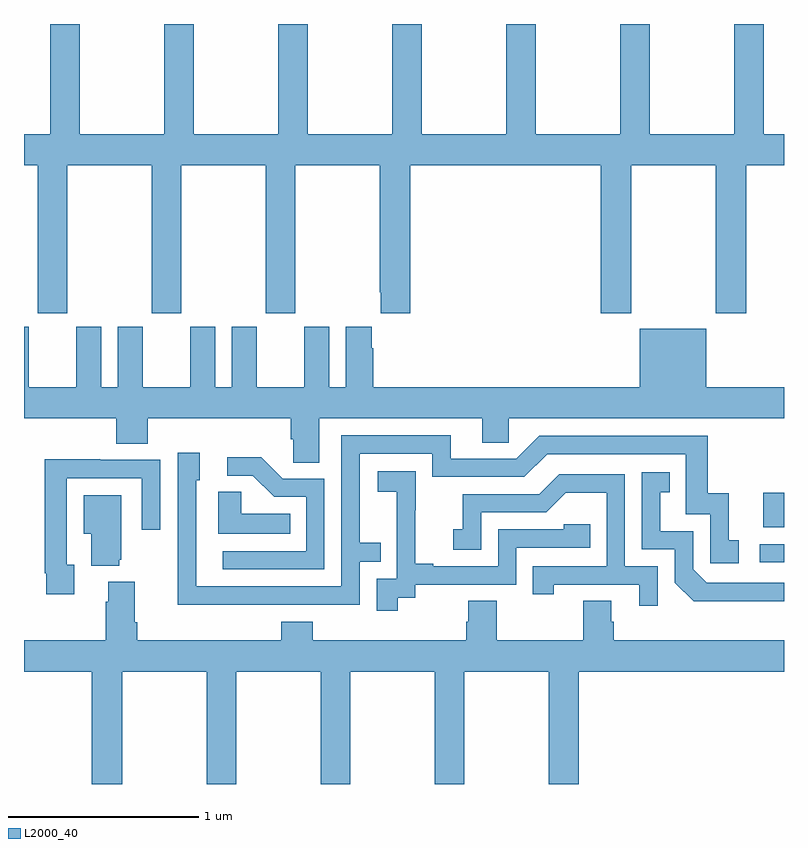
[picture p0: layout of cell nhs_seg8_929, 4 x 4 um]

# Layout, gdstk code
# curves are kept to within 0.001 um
import gdstk
lib = gdstk.Library(unit=1e-6, precision=1e-09)
def R(c, l, rs):  # rectangles x0, y0, x1, y1
    for r in rs: c.add(gdstk.rectangle(r[:2], r[2:], *l))
def P(c, l, *ps):  # polygons
    for p in ps: c.add(gdstk.Polygon(p, *l))
L2000_40 = (2000, 40)

nhs_seg8_929 = lib.new_cell('nhs_seg8_929')
R(nhs_seg8_929, L2000_40, [(174.873,1125.066,175,1125.162), (174.89,1125.251,175,1125.433)])
P(nhs_seg8_929, L2000_40, [(171.228,1127.156),(171.673,1127.156),(171.673,1126.377),(171.828,1126.377),(171.828,1127.156),(172.273,1127.156),(172.273,1126.377),(172.428,1126.377),(172.428,1127.156),(172.873,1127.156),(172.873,1126.489),(172.877,1126.489),(172.877,1126.377),(173.033,1126.377),(173.033,1127.156),(174.035,1127.156),(174.035,1126.377),(174.195,1126.377),(174.195,1127.156),(174.64,1127.156),(174.64,1126.377),(174.8,1126.377),(174.8,1127.156),(175,1127.156),(175,1127.32),(174.894,1127.32),(174.894,1127.9),(174.739,1127.9),(174.739,1127.32),(174.294,1127.32),(174.294,1127.9),(174.139,1127.9),(174.139,1127.32),(173.694,1127.32),(173.694,1127.9),(173.539,1127.9),(173.539,1127.32),(173.094,1127.32),(173.094,1127.9),(172.939,1127.9),(172.939,1127.32),(172.494,1127.32),(172.494,1127.9),(172.339,1127.9),(172.339,1127.32),(171.894,1127.32),(171.894,1127.9),(171.739,1127.9),(171.739,1127.32),(171.294,1127.32),(171.294,1127.9),(171.139,1127.9),(171.139,1127.32),(171,1127.32),(171,1127.156),(171.073,1127.156),(171.073,1126.377),(171.228,1126.377)],
  [(172.555,1125.824),(173.411,1125.824),(173.411,1125.697),(173.55,1125.697),(173.55,1125.824),(175,1125.824),(175,1125.988),(174.592,1125.988),(174.592,1126.297),(174.242,1126.297),(174.242,1125.988),(172.838,1125.988),(172.838,1126.193),(172.831,1126.193),(172.831,1126.306),(172.694,1126.306),(172.694,1125.988),(172.606,1125.988),(172.606,1126.306),(172.475,1126.306),(172.475,1125.988),(172.225,1125.988),(172.225,1126.306),(172.094,1126.306),(172.094,1125.988),(172.006,1125.988),(172.006,1126.306),(171.875,1126.306),(171.875,1125.988),(171.625,1125.988),(171.625,1126.306),(171.494,1126.306),(171.494,1125.988),(171.406,1125.988),(171.406,1126.306),(171.275,1126.306),(171.275,1125.988),(171.025,1125.988),(171.025,1126.306),(171,1126.306),(171,1125.824),(171.485,1125.824),(171.485,1125.691),(171.65,1125.691),(171.65,1125.824),(172.403,1125.824),(172.403,1125.715),(172.416,1125.715),(172.416,1125.592),(172.555,1125.592)],
  [(172.271,1124.844),(172.767,1124.844),(172.767,1125.069),(172.877,1125.069),(172.877,1125.17),(172.767,1125.17),(172.767,1125.639),(173.148,1125.639),(173.148,1125.516),(173.634,1125.516),(173.754,1125.636),(174.483,1125.636),(174.483,1125.321),(174.612,1125.321),(174.612,1125.063),(174.763,1125.063),(174.763,1125.183),(174.71,1125.183),(174.71,1125.43),(174.599,1125.43),(174.599,1125.732),(173.712,1125.732),(173.592,1125.612),(173.245,1125.612),(173.245,1125.735),(172.671,1125.735),(172.671,1124.94),(171.906,1124.94),(171.906,1125.498),(171.925,1125.498),(171.925,1125.643),(171.81,1125.643),(171.81,1125.149),(171.808,1125.149),(171.808,1124.843)],
  [(172.581,1125.507),(172.362,1125.507),(172.249,1125.62),(172.071,1125.62),(172.071,1125.522),(172.205,1125.522),(172.316,1125.411),(172.485,1125.411),(172.485,1125.126),(172.047,1125.126),(172.047,1125.03),(172.581,1125.03)],
  [(171.265,1125.054),(171.225,1125.054),(171.225,1125.51),(171.621,1125.51),(171.621,1125.237),(171.717,1125.237),(171.717,1125.606),(171.401,1125.606),(171.401,1125.608),(171.109,1125.608),(171.109,1125.01),(171.117,1125.01),(171.117,1124.898),(171.265,1124.898)],
  [(172.966,1124.881),(173.058,1124.881),(173.058,1124.949),(173.592,1124.949),(173.592,1125.144),(173.981,1125.144),(173.981,1125.267),(173.841,1125.267),(173.841,1125.24),(173.496,1125.24),(173.496,1125.045),(173.155,1125.045),(173.155,1125.058),(173.06,1125.058),(173.06,1125.341),(173.061,1125.341),(173.061,1125.547),(172.863,1125.547),(172.863,1125.437),(172.961,1125.437),(172.961,1125.209),(172.962,1125.209),(172.962,1124.979),(172.857,1124.979),(172.857,1124.811),(172.966,1124.811)],
  [(174.932,1124.862),(175,1124.862),(175,1124.958),(174.594,1124.958),(174.522,1125.03),(174.522,1125.231),(174.349,1125.231),(174.349,1125.435),(174.398,1125.435),(174.398,1125.541),(174.252,1125.541),(174.252,1125.135),(174.426,1125.135),(174.426,1124.958),(174.524,1124.861)],
  [(174.336,1125.045),(174.162,1125.045),(174.162,1125.531),(173.816,1125.531),(173.711,1125.426),(173.308,1125.426),(173.308,1125.241),(173.259,1125.241),(173.259,1125.132),(173.406,1125.132),(173.406,1125.33),(173.748,1125.33),(173.852,1125.434),(174.066,1125.434),(174.066,1125.045),(173.677,1125.045),(173.677,1124.898),(173.788,1124.898),(173.788,1124.949),(174.239,1124.949),(174.239,1124.838),(174.336,1124.838)],
  [(172.4,1125.322),(172.143,1125.322),(172.143,1125.437),(172.022,1125.437),(172.022,1125.218),(172.4,1125.218)],
  [(171.5,1125.081),(171.511,1125.081),(171.511,1125.421),(171.314,1125.421),(171.314,1125.218),(171.353,1125.218),(171.353,1125.05),(171.5,1125.05)],
  [(171.516,1124.492),(171.961,1124.492),(171.961,1123.9),(172.116,1123.9),(172.116,1124.492),(172.561,1124.492),(172.561,1123.9),(172.716,1123.9),(172.716,1124.492),(173.161,1124.492),(173.161,1123.9),(173.316,1123.9),(173.316,1124.492),(173.761,1124.492),(173.761,1123.9),(173.921,1123.9),(173.921,1124.492),(175,1124.492),(175,1124.656),(174.104,1124.656),(174.104,1124.754),(174.091,1124.754),(174.091,1124.864),(173.944,1124.864),(173.944,1124.656),(173.487,1124.656),(173.487,1124.864),(173.339,1124.864),(173.339,1124.754),(173.327,1124.754),(173.327,1124.656),(172.52,1124.656),(172.52,1124.755),(172.355,1124.755),(172.355,1124.656),(171.596,1124.656),(171.596,1124.752),(171.583,1124.752),(171.583,1124.965),(171.443,1124.965),(171.443,1124.858),(171.431,1124.858),(171.431,1124.656),(171,1124.656),(171,1124.492),(171.356,1124.492),(171.356,1123.9),(171.516,1123.9)])

lib.write_gds('nhs_seg8_929.gds')
